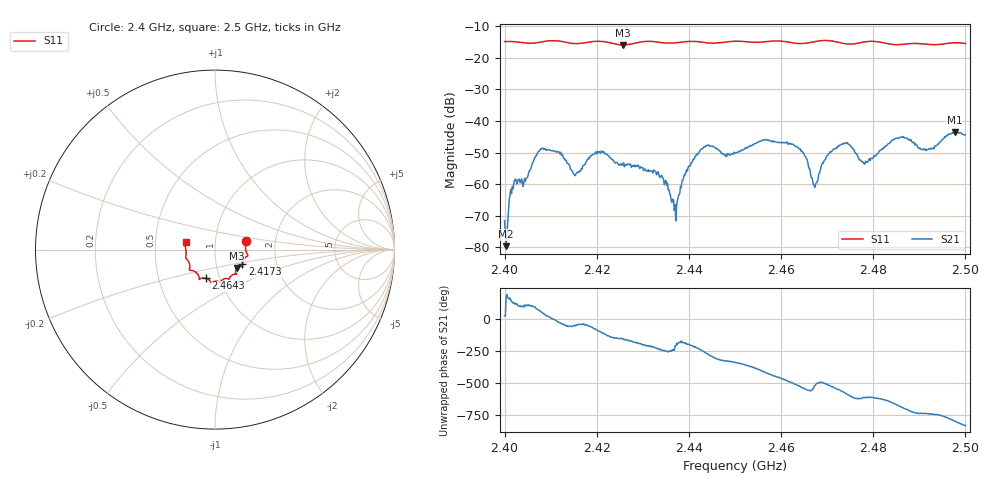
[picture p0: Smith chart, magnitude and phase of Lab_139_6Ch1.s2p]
# Hz S RI R 50
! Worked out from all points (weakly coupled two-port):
!   601 points, 2.4 GHz to 2.5 GHz, reference 50 ohm
!   highest |S21| = -43.58 dB at 2.4977 GHz (marker M1); lowest = -79.6 dB at 2.4003 GHz (marker M2)
!   lowest |S11| = -15.9 dB at 2.4257 GHz (marker M3), VSWR 1.38, Z = 62.4 - j13.1 ohm
!   |S11| at or under -10 dB: start of sweep to end of sweep
!   S12 and S22 are empty: the file has one direction only
!   S11 on the Smith chart (normalised r, x): 2.4 GHz: 1.41, +0.14; 2.4173 GHz: 1.34, -0.23; 2.4643 GHz: 0.86, -0.28; 2.5 GHz: 0.72, +0.06
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2.4e9  0.1738 0.0493  0.000235 0.000119  0 0  0 0
2.400333e9  0.1746 0.0481  -0.000104 4.39e-06  0 0  0 0
2.401833e9  0.1758 0.042  -0.000522 0.000669  0 0  0 0
2.4045e9  0.1705 0.0191  -0.000292 0.00107  0 0  0 0
2.407833e9  0.1771 -0.0198  0.00171 0.00321  0 0  0 0
2.416667e9  0.1527 -0.0749  0.00136 -0.00114  0 0  0 0
2.417333e9  0.152 -0.0823  0.0014 -0.00143  0 0  0 0
2.421e9  0.1543 -0.0965  -0.000698 -0.00328  0 0  0 0
2.425667e9  0.1223 -0.1025  -0.00183 -0.000838  0 0  0 0
2.433333e9  0.1124 -0.1366  -0.000936 0.00126  0 0  0 0
2.437e9  0.0872 -0.1487  -0.000422 0.000213  0 0  0 0
2.442833e9  0.0706 -0.1621  -0.00149 0.00326  0 0  0 0
2.45e9  0.0294 -0.1808  0.00284 0.00116  0 0  0 0
2.456667e9  -0.0119 -0.1798  0.0027 -0.00422  0 0  0 0
2.464333e9  -0.0501 -0.1604  -0.00331 -0.000388  0 0  0 0
2.466667e9  -0.0762 -0.1596  -0.00123 0.000318  0 0  0 0
2.473333e9  -0.0928 -0.1429  -0.00391 0.00195  0 0  0 0
2.478333e9  -0.1375 -0.1157  -0.000568 0.00224  0 0  0 0
2.483333e9  -0.1405 -0.0895  0.00101 0.00425  0 0  0 0
2.491833e9  -0.161 -0.0272  0.00331 -0.00122  0 0  0 0
2.497667e9  -0.1709 0.0303  0.00129 -0.0065  0 0  0 0
2.5e9  -0.1632 0.0416  -0.00234 -0.00553  0 0  0 0
